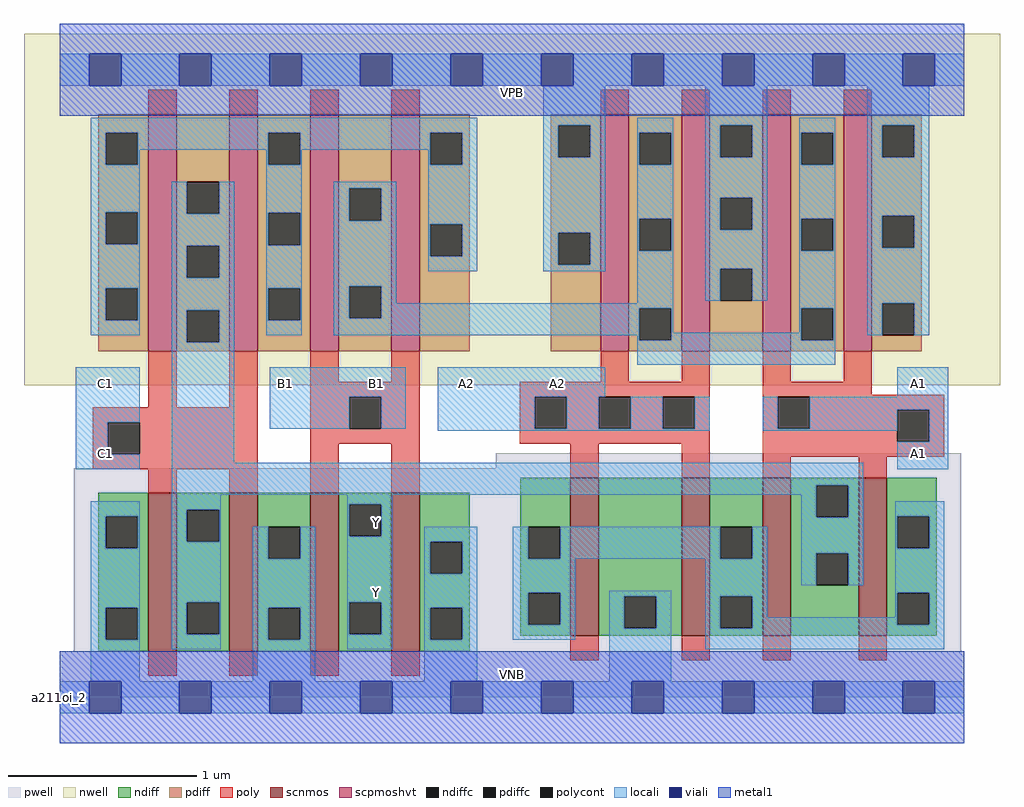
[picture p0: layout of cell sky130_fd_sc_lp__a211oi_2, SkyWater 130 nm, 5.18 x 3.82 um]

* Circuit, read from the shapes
.subckt sky130_fd_sc_lp__a211oi_2 A1 A2 B1 C1 VGND VNB VPB VPWR Y
XM1 Y C1 VGND VNB sky130_fd_pr__nfet_01v8 w=0.84 l=0.15 m=2
XM2 Y B1 VGND VNB sky130_fd_pr__nfet_01v8 w=0.84 l=0.15 m=2
XM3 VGND A2 n1 VNB sky130_fd_pr__nfet_01v8 w=0.84 l=0.15 m=2
XM4 Y A1 n1 VNB sky130_fd_pr__nfet_01v8 w=0.84 l=0.15 m=2
XM5 Y C1 n2 VPB sky130_fd_pr__pfet_01v8_hvt w=1.26 l=0.15 m=2
XM6 n3 B1 n2 VPB sky130_fd_pr__pfet_01v8_hvt w=1.26 l=0.15 m=2
XM7 n3 A2 VPWR VPB sky130_fd_pr__pfet_01v8_hvt w=1.26 l=0.15 m=2
XM8 n3 A1 VPWR VPB sky130_fd_pr__pfet_01v8_hvt w=1.26 l=0.15 m=2
.ends

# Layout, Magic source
magic
tech sky130A
magscale 1 2
<< nwell >>
rect -38 331 998 704
<< pwell >>
rect 463 243 957 259
rect 15 49 957 243
rect 0 0 960 49
<< scnmos >>
rect 94 49 124 217
rect 180 49 210 217
rect 266 49 296 217
rect 352 49 382 217
rect 542 65 572 233
rect 660 65 690 233
rect 746 65 776 233
rect 848 65 878 233
<< scpmoshvt >>
rect 94 367 124 619
rect 180 367 210 619
rect 266 367 296 619
rect 352 367 382 619
rect 574 367 604 619
rect 660 367 690 619
rect 746 367 776 619
rect 832 367 862 619
<< ndiff >>
rect 41 192 94 217
rect 41 158 49 192
rect 83 158 94 192
rect 41 95 94 158
rect 41 61 49 95
rect 83 61 94 95
rect 41 49 94 61
rect 124 199 180 217
rect 124 165 135 199
rect 169 165 180 199
rect 124 101 180 165
rect 124 67 135 101
rect 169 67 180 101
rect 124 49 180 67
rect 210 181 266 217
rect 210 147 221 181
rect 255 147 266 181
rect 210 95 266 147
rect 210 61 221 95
rect 255 61 266 95
rect 210 49 266 61
rect 296 205 352 217
rect 296 171 307 205
rect 341 171 352 205
rect 296 101 352 171
rect 296 67 307 101
rect 341 67 352 101
rect 296 49 352 67
rect 382 165 435 217
rect 382 131 393 165
rect 427 131 435 165
rect 382 95 435 131
rect 382 61 393 95
rect 427 61 435 95
rect 489 181 542 233
rect 489 147 497 181
rect 531 147 542 181
rect 489 111 542 147
rect 489 77 497 111
rect 531 77 542 111
rect 489 65 542 77
rect 572 107 660 233
rect 572 73 599 107
rect 633 73 660 107
rect 572 65 660 73
rect 690 181 746 233
rect 690 147 701 181
rect 735 147 746 181
rect 690 107 746 147
rect 690 73 701 107
rect 735 73 746 107
rect 690 65 746 73
rect 776 225 848 233
rect 776 191 803 225
rect 837 191 848 225
rect 776 153 848 191
rect 776 119 803 153
rect 837 119 848 153
rect 776 65 848 119
rect 878 192 931 233
rect 878 158 889 192
rect 923 158 931 192
rect 878 111 931 158
rect 878 77 889 111
rect 923 77 931 111
rect 878 65 931 77
rect 382 49 435 61
<< pdiff >>
rect 41 599 94 619
rect 41 565 49 599
rect 83 565 94 599
rect 41 515 94 565
rect 41 481 49 515
rect 83 481 94 515
rect 41 434 94 481
rect 41 400 49 434
rect 83 400 94 434
rect 41 367 94 400
rect 124 547 180 619
rect 124 513 135 547
rect 169 513 180 547
rect 124 479 180 513
rect 124 445 135 479
rect 169 445 180 479
rect 124 411 180 445
rect 124 377 135 411
rect 169 377 180 411
rect 124 367 180 377
rect 210 599 266 619
rect 210 565 221 599
rect 255 565 266 599
rect 210 514 266 565
rect 210 480 221 514
rect 255 480 266 514
rect 210 434 266 480
rect 210 400 221 434
rect 255 400 266 434
rect 210 367 266 400
rect 296 540 352 619
rect 296 506 307 540
rect 341 506 352 540
rect 296 436 352 506
rect 296 402 307 436
rect 341 402 352 436
rect 296 367 352 402
rect 382 599 435 619
rect 382 565 393 599
rect 427 565 435 599
rect 382 502 435 565
rect 382 468 393 502
rect 427 468 435 502
rect 382 367 435 468
rect 521 607 574 619
rect 521 573 529 607
rect 563 573 574 607
rect 521 493 574 573
rect 521 459 529 493
rect 563 459 574 493
rect 521 367 574 459
rect 604 599 660 619
rect 604 565 615 599
rect 649 565 660 599
rect 604 508 660 565
rect 604 474 615 508
rect 649 474 660 508
rect 604 413 660 474
rect 604 379 615 413
rect 649 379 660 413
rect 604 367 660 379
rect 690 607 746 619
rect 690 573 701 607
rect 735 573 746 607
rect 690 530 746 573
rect 690 496 701 530
rect 735 496 746 530
rect 690 455 746 496
rect 690 421 701 455
rect 735 421 746 455
rect 690 367 746 421
rect 776 599 832 619
rect 776 565 787 599
rect 821 565 832 599
rect 776 508 832 565
rect 776 474 787 508
rect 821 474 832 508
rect 776 413 832 474
rect 776 379 787 413
rect 821 379 832 413
rect 776 367 832 379
rect 862 607 915 619
rect 862 573 873 607
rect 907 573 915 607
rect 862 511 915 573
rect 862 477 873 511
rect 907 477 915 511
rect 862 418 915 477
rect 862 384 873 418
rect 907 384 915 418
rect 862 367 915 384
<< ndiffc >>
rect 49 158 83 192
rect 49 61 83 95
rect 135 165 169 199
rect 135 67 169 101
rect 221 147 255 181
rect 221 61 255 95
rect 307 171 341 205
rect 307 67 341 101
rect 393 131 427 165
rect 393 61 427 95
rect 497 147 531 181
rect 497 77 531 111
rect 599 73 633 107
rect 701 147 735 181
rect 701 73 735 107
rect 803 191 837 225
rect 803 119 837 153
rect 889 158 923 192
rect 889 77 923 111
<< pdiffc >>
rect 49 565 83 599
rect 49 481 83 515
rect 49 400 83 434
rect 135 513 169 547
rect 135 445 169 479
rect 135 377 169 411
rect 221 565 255 599
rect 221 480 255 514
rect 221 400 255 434
rect 307 506 341 540
rect 307 402 341 436
rect 393 565 427 599
rect 393 468 427 502
rect 529 573 563 607
rect 529 459 563 493
rect 615 565 649 599
rect 615 474 649 508
rect 615 379 649 413
rect 701 573 735 607
rect 701 496 735 530
rect 701 421 735 455
rect 787 565 821 599
rect 787 474 821 508
rect 787 379 821 413
rect 873 573 907 607
rect 873 477 907 511
rect 873 384 907 418
<< poly >>
rect 94 619 124 645
rect 180 619 210 645
rect 266 619 296 645
rect 352 619 382 645
rect 574 619 604 645
rect 660 619 690 645
rect 746 619 776 645
rect 832 619 862 645
rect 94 308 124 367
rect 180 308 210 367
rect 35 292 210 308
rect 35 258 51 292
rect 85 258 210 292
rect 35 242 210 258
rect 94 217 124 242
rect 180 217 210 242
rect 266 335 296 367
rect 352 335 382 367
rect 574 335 604 367
rect 660 335 690 367
rect 266 319 382 335
rect 266 285 307 319
rect 341 285 382 319
rect 266 269 382 285
rect 488 319 690 335
rect 488 285 504 319
rect 538 285 572 319
rect 606 285 640 319
rect 674 285 690 319
rect 488 269 690 285
rect 266 217 296 269
rect 352 217 382 269
rect 542 233 572 269
rect 660 233 690 269
rect 746 335 776 367
rect 832 335 862 367
rect 746 321 862 335
rect 746 319 939 321
rect 746 285 762 319
rect 796 305 939 319
rect 796 285 889 305
rect 746 271 889 285
rect 923 271 939 305
rect 746 255 939 271
rect 746 233 776 255
rect 848 233 878 255
rect 94 23 124 49
rect 180 23 210 49
rect 266 23 296 49
rect 352 23 382 49
rect 542 39 572 65
rect 660 39 690 65
rect 746 39 776 65
rect 848 39 878 65
<< polycont >>
rect 51 258 85 292
rect 307 285 341 319
rect 504 285 538 319
rect 572 285 606 319
rect 640 285 674 319
rect 762 285 796 319
rect 889 271 923 305
<< locali >>
rect 0 649 31 683
rect 65 649 127 683
rect 161 649 223 683
rect 257 649 319 683
rect 353 649 415 683
rect 449 649 511 683
rect 545 649 607 683
rect 641 649 703 683
rect 737 649 799 683
rect 833 649 895 683
rect 929 649 960 683
rect 33 599 443 615
rect 33 565 49 599
rect 83 581 221 599
rect 83 565 85 581
rect 33 515 85 565
rect 219 565 221 581
rect 255 581 393 599
rect 255 565 257 581
rect 33 481 49 515
rect 83 481 85 515
rect 33 434 85 481
rect 33 400 49 434
rect 83 400 85 434
rect 33 384 85 400
rect 119 513 135 547
rect 169 513 185 547
rect 119 479 185 513
rect 119 445 135 479
rect 169 445 185 479
rect 119 411 185 445
rect 119 377 135 411
rect 169 377 185 411
rect 219 514 257 565
rect 391 565 393 581
rect 427 565 443 599
rect 219 480 221 514
rect 255 480 257 514
rect 219 434 257 480
rect 219 400 221 434
rect 255 400 257 434
rect 219 384 257 400
rect 291 540 357 547
rect 291 506 307 540
rect 341 506 357 540
rect 291 436 357 506
rect 391 502 443 565
rect 391 468 393 502
rect 427 468 443 502
rect 391 452 443 468
rect 513 607 579 649
rect 513 573 529 607
rect 563 573 579 607
rect 513 493 579 573
rect 513 459 529 493
rect 563 459 579 493
rect 513 452 579 459
rect 613 599 651 615
rect 613 565 615 599
rect 649 565 651 599
rect 613 508 651 565
rect 613 474 615 508
rect 649 474 651 508
rect 291 402 307 436
rect 341 418 357 436
rect 613 418 651 474
rect 685 607 751 649
rect 685 573 701 607
rect 735 573 751 607
rect 685 530 751 573
rect 685 496 701 530
rect 735 496 751 530
rect 685 455 751 496
rect 685 421 701 455
rect 735 421 751 455
rect 785 599 823 615
rect 785 565 787 599
rect 821 565 823 599
rect 785 508 823 565
rect 785 474 787 508
rect 821 474 823 508
rect 341 413 651 418
rect 341 402 615 413
rect 291 384 615 402
rect 17 292 85 350
rect 17 258 51 292
rect 17 242 85 258
rect 119 249 185 377
rect 613 379 615 384
rect 649 387 651 413
rect 785 413 823 474
rect 785 387 787 413
rect 649 379 787 387
rect 821 379 823 413
rect 857 607 923 649
rect 857 573 873 607
rect 907 573 923 607
rect 857 511 923 573
rect 857 477 873 511
rect 907 477 923 511
rect 857 418 923 477
rect 857 384 873 418
rect 907 384 923 418
rect 613 353 823 379
rect 223 319 367 350
rect 223 285 307 319
rect 341 285 367 319
rect 401 319 579 350
rect 889 319 943 350
rect 401 285 504 319
rect 538 285 572 319
rect 606 285 640 319
rect 674 285 690 319
rect 401 283 690 285
rect 746 285 762 319
rect 796 305 943 319
rect 796 285 889 305
rect 746 283 889 285
rect 923 271 943 305
rect 119 225 853 249
rect 889 242 943 271
rect 119 215 803 225
rect 33 192 85 208
rect 33 158 49 192
rect 83 158 85 192
rect 33 95 85 158
rect 33 61 49 95
rect 83 61 85 95
rect 33 17 85 61
rect 119 199 171 215
rect 119 165 135 199
rect 169 165 171 199
rect 305 205 353 215
rect 119 101 171 165
rect 119 67 135 101
rect 169 67 171 101
rect 119 51 171 67
rect 205 147 221 181
rect 255 147 271 181
rect 205 95 271 147
rect 205 61 221 95
rect 255 61 271 95
rect 205 17 271 61
rect 305 171 307 205
rect 341 171 353 205
rect 787 191 803 215
rect 837 191 853 225
rect 305 101 353 171
rect 305 67 307 101
rect 341 67 353 101
rect 305 51 353 67
rect 387 165 443 181
rect 387 131 393 165
rect 427 131 443 165
rect 387 95 443 131
rect 387 61 393 95
rect 427 61 443 95
rect 481 147 497 181
rect 531 147 701 181
rect 735 147 751 181
rect 481 111 547 147
rect 481 77 497 111
rect 531 77 547 111
rect 481 61 547 77
rect 583 107 649 113
rect 583 73 599 107
rect 633 73 649 107
rect 387 17 443 61
rect 583 17 649 73
rect 685 107 751 147
rect 787 153 853 191
rect 787 119 803 153
rect 837 119 853 153
rect 887 192 939 208
rect 887 158 889 192
rect 923 158 939 192
rect 685 73 701 107
rect 735 85 751 107
rect 887 111 939 158
rect 887 85 889 111
rect 735 77 889 85
rect 923 77 939 111
rect 735 73 939 77
rect 685 51 939 73
rect 0 -17 31 17
rect 65 -17 127 17
rect 161 -17 223 17
rect 257 -17 319 17
rect 353 -17 415 17
rect 449 -17 511 17
rect 545 -17 607 17
rect 641 -17 703 17
rect 737 -17 799 17
rect 833 -17 895 17
rect 929 -17 960 17
<< viali >>
rect 31 649 65 683
rect 127 649 161 683
rect 223 649 257 683
rect 319 649 353 683
rect 415 649 449 683
rect 511 649 545 683
rect 607 649 641 683
rect 703 649 737 683
rect 799 649 833 683
rect 895 649 929 683
rect 31 -17 65 17
rect 127 -17 161 17
rect 223 -17 257 17
rect 319 -17 353 17
rect 415 -17 449 17
rect 511 -17 545 17
rect 607 -17 641 17
rect 703 -17 737 17
rect 799 -17 833 17
rect 895 -17 929 17
<< metal1 >>
rect 0 683 960 715
rect 0 649 31 683
rect 65 649 127 683
rect 161 649 223 683
rect 257 649 319 683
rect 353 649 415 683
rect 449 649 511 683
rect 545 649 607 683
rect 641 649 703 683
rect 737 649 799 683
rect 833 649 895 683
rect 929 649 960 683
rect 0 617 960 649
rect 0 17 960 49
rect 0 -17 31 17
rect 65 -17 127 17
rect 161 -17 223 17
rect 257 -17 319 17
rect 353 -17 415 17
rect 449 -17 511 17
rect 545 -17 607 17
rect 641 -17 703 17
rect 737 -17 799 17
rect 833 -17 895 17
rect 929 -17 960 17
rect 0 -49 960 -17
<< labels >>
flabel pwell s 0 0 960 49 0 FreeSans 200 0 0 0 VNB
port 6 nsew ground bidirectional
flabel nwell s 0 617 960 666 0 FreeSans 200 0 0 0 VPB
port 7 nsew power bidirectional
rlabel comment s 0 0 0 0 4 a211oi_2
flabel metal1 s 0 617 960 666 0 FreeSans 340 0 0 0 VPWR
port 8 nsew power bidirectional
flabel metal1 s 0 0 960 49 0 FreeSans 340 0 0 0 VGND
port 5 nsew ground bidirectional
flabel locali s 319 94 353 128 0 FreeSans 340 0 0 0 Y
port 9 nsew signal output
flabel locali s 319 168 353 202 0 FreeSans 340 0 0 0 Y
port 9 nsew signal output
flabel locali s 895 242 929 276 0 FreeSans 340 0 0 0 A1
port 1 nsew signal input
flabel locali s 895 316 929 350 0 FreeSans 340 0 0 0 A1
port 1 nsew signal input
flabel locali s 415 316 449 350 0 FreeSans 340 0 0 0 A2
port 2 nsew signal input
flabel locali s 511 316 545 350 0 FreeSans 340 0 0 0 A2
port 2 nsew signal input
flabel locali s 223 316 257 350 0 FreeSans 340 0 0 0 B1
port 3 nsew signal input
flabel locali s 319 316 353 350 0 FreeSans 340 0 0 0 B1
port 3 nsew signal input
flabel locali s 31 242 65 276 0 FreeSans 340 0 0 0 C1
port 4 nsew signal input
flabel locali s 31 316 65 350 0 FreeSans 340 0 0 0 C1
port 4 nsew signal input
<< properties >>
string LEFsite unit
string LEFclass CORE
string FIXED_BBOX 0 0 960 666
string GDS_FILE $PDKPATH/libs.ref/sky130_fd_sc_lp/gds/sky130_fd_sc_lp.gds
string LEFsymmetry X Y R90
string GDS_END 222962
string GDS_START 213704
<< end >>
